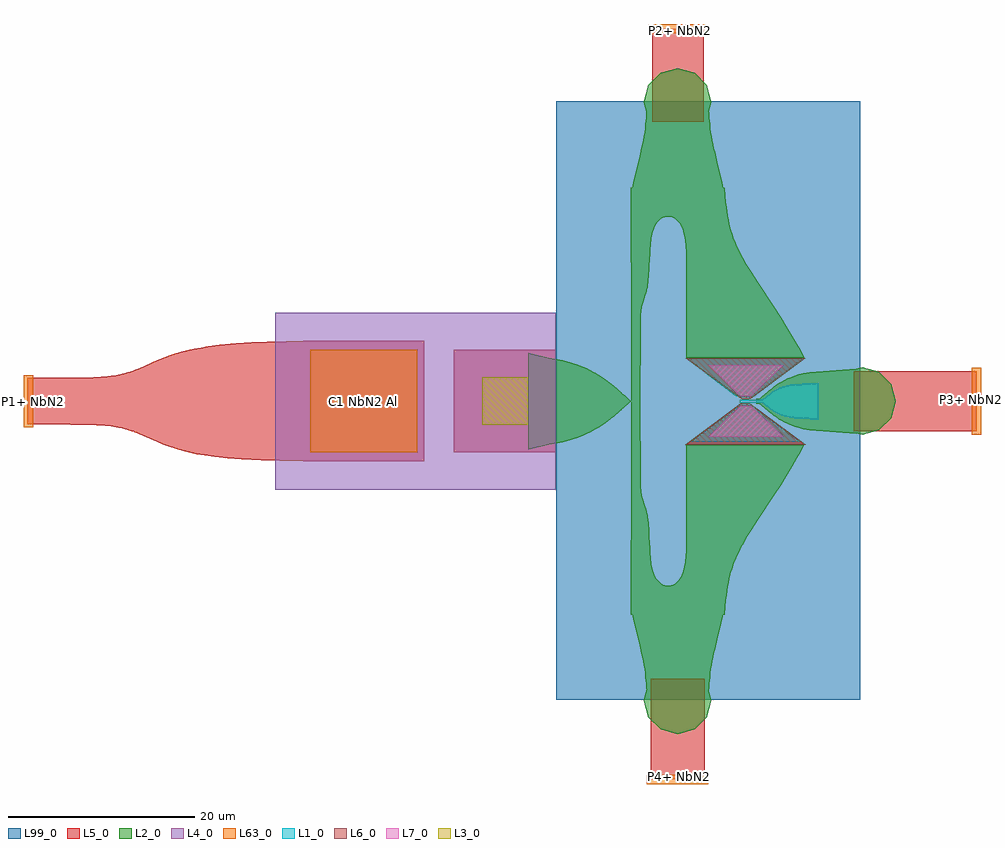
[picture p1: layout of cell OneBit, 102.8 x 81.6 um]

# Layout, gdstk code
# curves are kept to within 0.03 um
from math import pi, radians
import gdstk
lib = gdstk.Library(unit=1e-6, precision=1e-09)
def R(c, l, rs):  # rectangles x0, y0, x1, y1
    for r in rs: c.add(gdstk.rectangle(r[:2], r[2:], *l))
def P(c, l, *ps):  # polygons
    for p in ps: c.add(gdstk.Polygon(p, *l))
L1_0 = (1, 0)
L2_0 = (2, 0)
L3_0 = (3, 0)
L4_0 = (4, 0)
L5_0 = (5, 0)
L6_0 = (6, 0)
L7_0 = (7, 0)
L63_0 = (63, 0)
L99_0 = (99, 0)

optimal_step_2_1 = lib.new_cell('Optimal$Step$2$1')
P(optimal_step_2_1, L2_0, [(0,0),(18.257,0),(18.257,12.677),(16.784,11.874),(14.878,10.745),(8.248,6.462),(6.502,5.53),(4.957,4.919),(3.477,4.535),(2.104,4.316),(0,4.136)])

opt_deg_turn_1 = lib.new_cell('opt_deg_turn_1')
P(opt_deg_turn_1, L2_0, [(-4,-4),(-1.972,-4),(-1.919,-2.622),(-1.829,-1.681),(-1.703,-0.983),(-1.487,-0.309),(-1.127,0.301),(-0.782,0.626),(-0.355,0.832),(0.08,0.88),(0.541,0.764),(0.936,0.502),(1.244,0.143),(1.559,-0.492),(1.745,-1.176),(1.854,-1.876),(1.972,-4),(4,-4),(4,4),(-4,4)])

circle = lib.new_cell('circle')
P(circle, L2_0, [(3.623,0),(3.138,1.811),(1.812,3.138),(0,3.623),(-1.811,3.138),(-3.138,1.811),(-3.623,0),(-3.138,-1.812),(-1.812,-3.138),(0,-3.623),(1.812,-3.138),(3.138,-1.812)])

opt_17 = lib.new_cell('opt_17')
P(opt_17, L2_0, [(8.785,-4.875),(8.785,4.875),(7.5,4.629),(4.493,3.892),(3.197,3.632),(1.907,3.463),(0,3.331),(0,-3.331),(1.907,-3.463),(3.197,-3.632),(4.493,-3.892),(7.074,-4.534)])

optimal_step_4_1 = lib.new_cell('Optimal$Step$4$1')
P(optimal_step_4_1, L2_0, [(10.75,-3.5),(10.75,3.5),(5.761,3.129),(4.563,2.868),(3.6,2.536),(2.737,2.106),(1.917,1.557),(0.567,0.447),(0.393,0.343),(0,0.259),(0,-0.259),(0.393,-0.343),(0.567,-0.447),(1.917,-1.557),(2.737,-2.106),(3.378,-2.438),(4.175,-2.75),(5.063,-2.994),(5.761,-3.129)])

ntron_1 = lib.new_cell('ntron_1')
P(ntron_1, L2_0, [(-5.2,-11.06),(5.2,-11.06),(4.661,-8.83),(4.384,-7.368),(4.136,-6.428),(3.515,-4.772),(2.903,-3.623),(2.29,-2.702),(1.457,-1.652),(0.092,-0.151),(0.028,0),(-0.028,0),(-0.092,-0.151),(-1.457,-1.652),(-2.29,-2.702),(-2.903,-3.623),(-3.515,-4.772),(-4.136,-6.428),(-4.384,-7.368),(-4.661,-8.83)],
  [(0,0),(16.09,0),(16.09,1.988),(13.778,1.925),(12.693,1.825),(11.849,1.67),(10.105,1.156),(9.308,1.047),(0,1)],
  [(-16.09,0),(0,0),(0,1),(-7.69,1.004),(-9.359,1.051),(-10.105,1.156),(-11.849,1.67),(-12.693,1.825),(-14.243,1.948),(-16.09,1.988)])

opt_7_2_1 = lib.new_cell('opt_7_2_1')
P(opt_7_2_1, L1_0, [(8.4,-2),(8.4,2),(5.886,1.837),(4.804,1.622),(4.302,1.444),(3.832,1.211),(2.469,0.198),(2.071,0.151),(0,0.15),(0,-0.15),(2.071,-0.151),(2.469,-0.198),(3.832,-1.211),(4.302,-1.444),(5.055,-1.689),(5.886,-1.837)])

ntron_cshe = lib.new_cell('ntron_CSHE')
P(ntron_cshe, L1_0, [(-1,-0.75),(1,-0.75),(0.8,-0.5),(0.4,-0.4),(-0.4,-0.4),(-0.8,-0.5)],
  [(-0.4,0.4),(0.4,0.4),(0.8,0.5),(1,0.75),(-1,0.75),(-0.8,0.5)],
  [(-5.833,-4.375),(5.833,-4.375),(1,-0.75),(-1,-0.75)],
  [(-1.072,0.55),(1.005,0.55),(6.333,4.6),(-6.4,4.6)])
P(ntron_cshe, L6_0, [(-6.5,-4.7),(6.434,-4.7),(0.472,-0.237),(0.319,-0.2),(-0.385,-0.2),(-0.538,-0.237)],
  [(-0.334,0.2),(0.334,0.2),(0.531,0.276),(6.4,4.6),(-6.4,4.6),(-0.479,0.237)])
P(ntron_cshe, L7_0, [(-0.525,0.515),(0.575,0.515),(4.025,3.865),(-3.975,3.865)],
  [(-3.975,-3.815),(4.025,-3.815),(0.575,-0.465),(-0.525,-0.465)])
R(ntron_cshe, L99_0, [(-0.35,-0.35,0.35,0.35)])
ntron_cshe.add(gdstk.Reference(opt_7_2_1, (-0.617,-0.004)))

cshe_device = lib.new_cell('CSHE_device')
P(cshe_device, L5_0, [(-6.365,-4.685),(6.315,-4.685),(6.315,-4.679),(0.663,-0.44),(-0.723,-0.44),(-6.365,-4.672)],
  [(-0.723,0.45),(0.663,0.45),(6.315,4.689),(6.315,4.695),(-6.365,4.695),(-6.365,4.682)])
R(cshe_device, L99_0, [(-20.355,-32.08,12.29,32.2)])
cshe_device.add(gdstk.Reference(optimal_step_2_1, (-6.365,-22.935), rotation=pi/2, x_reflection=True))
cshe_device.add(gdstk.Reference(optimal_step_2_1, (-6.365,22.945), rotation=3*pi/2))
cshe_device.add(gdstk.Reference(opt_deg_turn_1, (-8.315,-18.935), x_reflection=True))
cshe_device.add(gdstk.Reference(opt_deg_turn_1, (-8.315,18.945)))
cshe_device.add(gdstk.Reference(circle, (-7.29,-32.11), x_reflection=True))
cshe_device.add(gdstk.Reference(circle, (-7.29,32.12)))
cshe_device.add(gdstk.Reference(opt_17, (-7.284,-31.541), rotation=pi/2))
cshe_device.add(gdstk.Reference(circle, (12.505,0)))
cshe_device.add(gdstk.Reference(optimal_step_4_1, (1.128,0)))
cshe_device.add(gdstk.Reference(opt_17, (-7.284,31.651), rotation=3*pi/2, x_reflection=True))
cshe_device.add(gdstk.Reference(ntron_1, (-12.286,0), rotation=3*pi/2))
cshe_device.add(gdstk.Reference(ntron_cshe, (0,0)))

via_nbn2_al = lib.new_cell('via_NbN2_Al')
R(via_nbn2_al, L3_0, [(-2.407,-2.511,2.562,2.568)])
R(via_nbn2_al, L4_0, [(-5.44,-5.507,5.522,5.527)])
R(via_nbn2_al, L5_0, [(-5.44,-5.507,5.522,5.527)])

optimal_step_1_1 = lib.new_cell('Optimal$Step$1$1')
P(optimal_step_1_1, L5_0, [(29.709,-6.448),(29.709,6.448),(25.761,6.366),(22.406,6.198),(20.664,6.041),(18.648,5.758),(17.202,5.458),(15.841,5.078),(14.665,4.663),(11.236,3.225),(10.197,2.916),(8.99,2.702),(7.923,2.604),(5.673,2.525),(0,2.5),(0,-2.5),(4.653,-2.513),(7.465,-2.578),(8.99,-2.702),(9.837,-2.837),(10.899,-3.111),(12.061,-3.548),(13.946,-4.372),(15.309,-4.9),(16.879,-5.377),(18.214,-5.678),(20.124,-5.978),(23.049,-6.242),(25.131,-6.344)])

capacitor = lib.new_cell('Capacitor')
R(capacitor, L4_0, [(-1.741,-9.493,28.381,9.492)])
R(capacitor, L5_0, [(1.248,-6.458,14.248,6.495)])
R(capacitor, L63_0, [(2,-5.5,13.5,5.5)])
capacitor.add(gdstk.Reference(via_nbn2_al, (22.859,0)))
capacitor.add(gdstk.Reference(optimal_step_1_1, (-28.381,0.008)))

onebit = lib.new_cell('OneBit')
R(onebit, L5_0, [(-10.2,-40.6,-4.4,-29.8), (11.6,-3.2,24.8,3.2), (-10,30,-4.5,40)])
onebit.add(gdstk.FlexPath([(-10.6,-40.6),(-4,-40.6)], 1, ends="flush", simple_path=True, layer=63, datatype=0))  # L63_0
onebit.add(gdstk.FlexPath([(24.8,3.6),(24.8,-3.6)], 1, ends="flush", simple_path=True, layer=63, datatype=0))  # L63_0
onebit.add(gdstk.FlexPath([(-10.4,40),(-4.2,40)], 1, ends="flush", simple_path=True, layer=63, datatype=0))  # L63_0
onebit.add(gdstk.FlexPath([(-77,2.8),(-77,-2.8)], 1, ends="flush", simple_path=True, layer=63, datatype=0))  # L63_0
onebit.add(gdstk.Reference(cshe_device, (0,0)))
onebit.add(gdstk.Reference(capacitor, (-48.738,0)))
onebit.add(gdstk.Label('P4+ NbN2', (-7.1,-40.3), layer=64, texttype=0))
onebit.add(gdstk.Label('P3+ NbN2', (24.5,0.2), layer=64, texttype=0))
onebit.add(gdstk.Label('P2+ NbN2', (-7,39.8), layer=64, texttype=0))
onebit.add(gdstk.Label('P1+ NbN2', (-76.8,0), layer=64, texttype=0))
onebit.add(gdstk.Label('C1 NbN2 Al', (-41,0), layer=64, texttype=0))

lib.write_gds('OneBit.gds')
